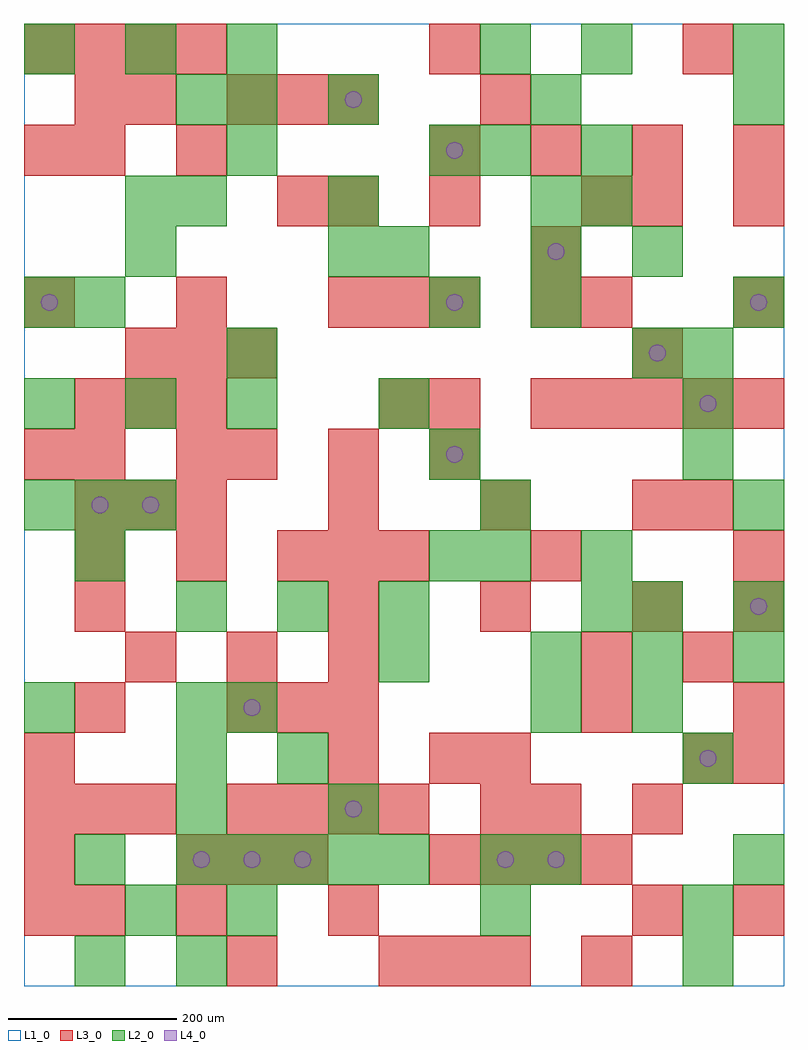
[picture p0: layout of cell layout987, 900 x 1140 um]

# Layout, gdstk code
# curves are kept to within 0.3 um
import gdstk
lib = gdstk.Library(unit=1e-6, precision=1e-09)
def R(c, l, rs):  # rectangles x0, y0, x1, y1
    for r in rs: c.add(gdstk.rectangle(r[:2], r[2:], *l))
def A(c, l, x, y, w, h, nx, ny, dx, dy):  # array of equal rectangles
    R(c, l, [(x+i*dx, y+j*dy, x+i*dx+w, y+j*dy+h) for i in range(nx) for j in range(ny)])
def P(c, l, *ps):  # polygons
    for p in ps: c.add(gdstk.Polygon(p, *l))
L1_0 = (1, 0)
L2_0 = (2, 0)
L3_0 = (3, 0)
L4_0 = (4, 0)

layout987 = lib.new_cell('layout987')
R(layout987, L1_0, [(0,0,900,1140)])
A(layout987, L2_0, 180, 120, 60, 60, 5, 1, 60, 0)
A(layout987, L2_0, 180, 180, 60, 60, 1, 3, 0, 60)
A(layout987, L2_0, 600, 360, 60, 60, 3, 1, 120, 0)
A(layout987, L2_0, 180, 420, 60, 60, 3, 1, 120, 0)
A(layout987, L2_0, 0, 540, 60, 60, 3, 1, 60, 0)
A(layout987, L2_0, 480, 600, 60, 60, 1, 3, 0, 180)
A(layout987, L2_0, 780, 600, 60, 60, 1, 3, 0, 60)
A(layout987, L2_0, 0, 660, 60, 60, 3, 2, 120, 420)
A(layout987, L2_0, 600, 780, 60, 60, 1, 3, 0, 60)
A(layout987, L2_0, 360, 1020, 60, 60, 3, 1, 240, 0)
R(layout987, L2_0, [(60,0,120,60), (180,0,240,60), (780,0,840,60), (120,60,180,120), (240,60,300,120), (540,60,600,120), (780,60,840,120), (60,120,120,180), (540,120,600,180), (600,120,660,180), (840,120,900,180), (360,180,420,240), (300,240,360,300), (780,240,840,300), (0,300,60,360), (240,300,300,360), (600,300,660,360), (720,300,780,360), (420,360,480,420), (660,420,720,480), (720,420,780,480), (840,420,900,480), (60,480,120,540), (480,480,540,540), (540,480,600,540), (660,480,720,540), (540,540,600,600), (840,540,900,600), (420,660,480,720), (240,720,300,780), (720,720,780,780), (0,780,60,840), (60,780,120,840), (840,780,900,840), (120,840,180,900), (360,840,420,900), (420,840,480,900), (720,840,780,900), (120,900,180,960), (180,900,240,960), (360,900,420,960), (660,900,720,960), (240,960,300,1020), (540,960,600,1020), (660,960,720,1020), (180,1020,240,1080), (240,1020,300,1080), (540,1080,600,1140), (660,1080,720,1140), (840,1080,900,1140)])
A(layout987, L3_0, 420, 0, 60, 60, 3, 1, 60, 0)
A(layout987, L3_0, 180, 120, 60, 60, 3, 1, 60, 0)
A(layout987, L3_0, 480, 120, 60, 60, 4, 1, 60, 0)
A(layout987, L3_0, 0, 180, 60, 60, 3, 1, 60, 0)
A(layout987, L3_0, 240, 180, 60, 60, 4, 1, 60, 0)
A(layout987, L3_0, 600, 180, 60, 60, 1, 3, 0, 300)
A(layout987, L3_0, 0, 240, 60, 60, 1, 3, 0, 360)
A(layout987, L3_0, 240, 300, 60, 60, 3, 2, 60, 720)
A(layout987, L3_0, 120, 360, 60, 60, 3, 1, 120, 0)
A(layout987, L3_0, 360, 420, 60, 60, 3, 2, 180, 120)
A(layout987, L3_0, 60, 480, 60, 60, 3, 1, 120, 0)
A(layout987, L3_0, 60, 540, 60, 60, 3, 2, 60, 120)
A(layout987, L3_0, 240, 600, 60, 60, 3, 1, 120, 0)
A(layout987, L3_0, 480, 660, 60, 60, 1, 3, 0, 120)
A(layout987, L3_0, 600, 660, 60, 60, 5, 1, 60, 0)
A(layout987, L3_0, 120, 720, 60, 60, 3, 1, 60, 0)
A(layout987, L3_0, 0, 780, 60, 60, 3, 1, 180, 0)
A(layout987, L3_0, 480, 960, 60, 60, 4, 1, 120, 0)
A(layout987, L3_0, 0, 1080, 60, 60, 4, 1, 60, 0)
R(layout987, L3_0, [(240,0,300,60), (660,0,720,60), (0,60,60,120), (60,60,120,120), (180,60,240,120), (360,60,420,120), (720,60,780,120), (840,60,900,120), (0,120,60,180), (540,180,600,240), (720,180,780,240), (360,240,420,300), (480,240,540,300), (540,240,600,300), (780,240,840,300), (840,240,900,300), (60,300,120,360), (660,300,720,360), (840,300,900,360), (660,360,720,420), (780,360,840,420), (60,420,120,480), (840,420,900,480), (360,480,420,540), (420,480,480,540), (840,480,900,540), (780,540,840,600), (60,600,120,660), (180,600,240,660), (420,660,480,720), (720,720,780,780), (420,780,480,840), (660,780,720,840), (840,780,900,840), (600,840,660,900), (300,900,360,960), (360,900,420,960), (660,900,720,960), (720,900,780,960), (840,900,900,960), (60,960,120,1020), (180,960,240,1020), (60,1020,120,1080), (120,1020,180,1080), (540,1020,600,1080), (480,1080,540,1140), (780,1080,840,1140)])
P(layout987, L4_0, [(40,810),(39.239,813.827),(37.071,817.071),(33.827,819.239),(30,820),(26.173,819.239),(22.929,817.071),(20.761,813.827),(20,810),(20.761,806.173),(22.929,802.929),(26.173,800.761),(30,800),(33.827,800.761),(37.071,802.929),(39.239,806.173)],
  [(100,570),(99.239,573.827),(97.071,577.071),(93.827,579.239),(90,580),(86.173,579.239),(82.929,577.071),(80.761,573.827),(80,570),(80.761,566.173),(82.929,562.929),(86.173,560.761),(90,560),(93.827,560.761),(97.071,562.929),(99.239,566.173)],
  [(160,570),(159.239,573.827),(157.071,577.071),(153.827,579.239),(150,580),(146.173,579.239),(142.929,577.071),(140.761,573.827),(140,570),(140.761,566.173),(142.929,562.929),(146.173,560.761),(150,560),(153.827,560.761),(157.071,562.929),(159.239,566.173)],
  [(220,150),(219.239,153.827),(217.071,157.071),(213.827,159.239),(210,160),(206.173,159.239),(202.929,157.071),(200.761,153.827),(200,150),(200.761,146.173),(202.929,142.929),(206.173,140.761),(210,140),(213.827,140.761),(217.071,142.929),(219.239,146.173)],
  [(280,150),(279.239,153.827),(277.071,157.071),(273.827,159.239),(270,160),(266.173,159.239),(262.929,157.071),(260.761,153.827),(260,150),(260.761,146.173),(262.929,142.929),(266.173,140.761),(270,140),(273.827,140.761),(277.071,142.929),(279.239,146.173)],
  [(280,330),(279.239,333.827),(277.071,337.071),(273.827,339.239),(270,340),(266.173,339.239),(262.929,337.071),(260.761,333.827),(260,330),(260.761,326.173),(262.929,322.929),(266.173,320.761),(270,320),(273.827,320.761),(277.071,322.929),(279.239,326.173)],
  [(340,150),(339.239,153.827),(337.071,157.071),(333.827,159.239),(330,160),(326.173,159.239),(322.929,157.071),(320.761,153.827),(320,150),(320.761,146.173),(322.929,142.929),(326.173,140.761),(330,140),(333.827,140.761),(337.071,142.929),(339.239,146.173)],
  [(400,210),(399.239,213.827),(397.071,217.071),(393.827,219.239),(390,220),(386.173,219.239),(382.929,217.071),(380.761,213.827),(380,210),(380.761,206.173),(382.929,202.929),(386.173,200.761),(390,200),(393.827,200.761),(397.071,202.929),(399.239,206.173)],
  [(400,1050),(399.239,1053.827),(397.071,1057.071),(393.827,1059.239),(390,1060),(386.173,1059.239),(382.929,1057.071),(380.761,1053.827),(380,1050),(380.761,1046.173),(382.929,1042.929),(386.173,1040.761),(390,1040),(393.827,1040.761),(397.071,1042.929),(399.239,1046.173)],
  [(520,630),(519.239,633.827),(517.071,637.071),(513.827,639.239),(510,640),(506.173,639.239),(502.929,637.071),(500.761,633.827),(500,630),(500.761,626.173),(502.929,622.929),(506.173,620.761),(510,620),(513.827,620.761),(517.071,622.929),(519.239,626.173)],
  [(520,810),(519.239,813.827),(517.071,817.071),(513.827,819.239),(510,820),(506.173,819.239),(502.929,817.071),(500.761,813.827),(500,810),(500.761,806.173),(502.929,802.929),(506.173,800.761),(510,800),(513.827,800.761),(517.071,802.929),(519.239,806.173)],
  [(520,990),(519.239,993.827),(517.071,997.071),(513.827,999.239),(510,1000),(506.173,999.239),(502.929,997.071),(500.761,993.827),(500,990),(500.761,986.173),(502.929,982.929),(506.173,980.761),(510,980),(513.827,980.761),(517.071,982.929),(519.239,986.173)],
  [(580,150),(579.239,153.827),(577.071,157.071),(573.827,159.239),(570,160),(566.173,159.239),(562.929,157.071),(560.761,153.827),(560,150),(560.761,146.173),(562.929,142.929),(566.173,140.761),(570,140),(573.827,140.761),(577.071,142.929),(579.239,146.173)],
  [(640,150),(639.239,153.827),(637.071,157.071),(633.827,159.239),(630,160),(626.173,159.239),(622.929,157.071),(620.761,153.827),(620,150),(620.761,146.173),(622.929,142.929),(626.173,140.761),(630,140),(633.827,140.761),(637.071,142.929),(639.239,146.173)],
  [(640,870),(639.239,873.827),(637.071,877.071),(633.827,879.239),(630,880),(626.173,879.239),(622.929,877.071),(620.761,873.827),(620,870),(620.761,866.173),(622.929,862.929),(626.173,860.761),(630,860),(633.827,860.761),(637.071,862.929),(639.239,866.173)],
  [(760,750),(759.239,753.827),(757.071,757.071),(753.827,759.239),(750,760),(746.173,759.239),(742.929,757.071),(740.761,753.827),(740,750),(740.761,746.173),(742.929,742.929),(746.173,740.761),(750,740),(753.827,740.761),(757.071,742.929),(759.239,746.173)],
  [(820,270),(819.239,273.827),(817.071,277.071),(813.827,279.239),(810,280),(806.173,279.239),(802.929,277.071),(800.761,273.827),(800,270),(800.761,266.173),(802.929,262.929),(806.173,260.761),(810,260),(813.827,260.761),(817.071,262.929),(819.239,266.173)],
  [(820,690),(819.239,693.827),(817.071,697.071),(813.827,699.239),(810,700),(806.173,699.239),(802.929,697.071),(800.761,693.827),(800,690),(800.761,686.173),(802.929,682.929),(806.173,680.761),(810,680),(813.827,680.761),(817.071,682.929),(819.239,686.173)],
  [(880,450),(879.239,453.827),(877.071,457.071),(873.827,459.239),(870,460),(866.173,459.239),(862.929,457.071),(860.761,453.827),(860,450),(860.761,446.173),(862.929,442.929),(866.173,440.761),(870,440),(873.827,440.761),(877.071,442.929),(879.239,446.173)],
  [(880,810),(879.239,813.827),(877.071,817.071),(873.827,819.239),(870,820),(866.173,819.239),(862.929,817.071),(860.761,813.827),(860,810),(860.761,806.173),(862.929,802.929),(866.173,800.761),(870,800),(873.827,800.761),(877.071,802.929),(879.239,806.173)])

lib.write_gds('layout987.gds')
